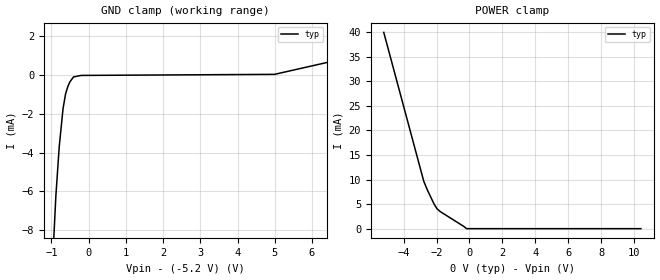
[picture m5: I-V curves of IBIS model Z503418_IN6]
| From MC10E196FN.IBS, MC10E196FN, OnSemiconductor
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| (C) COPYRIGHT 1993-2000
| MENTOR GRAPHICS CORPORATION
| ICX STANDARD LIBRARY, ICX PROJECT MODELING,
| ICX CUSTOM MODELING, ICX VENDOR MODEL
| ALL RIGHTS RESERVED.
| THE FOLLOWING ARE TRADEMARKS OR SERVICE MARKS OF
| MENTOR GRAPHICS CORPORATION:ICX (R), ICX STANDARD
| LIBRARY(R), ICX PROJECT MODELING(R), ICX CUSTOM
| MODELING(R), qualityIBIS(TM), MODELVIEWER(TM),
| AND MODELEDITOR(TM)
| ALL COPIES OF SOFTWARE, INCLUDING BUT NOT LIMITED TO
| ANY MODIFICATIONS, ENHANCEMENTS OR DERIVATIVE WORKS,
| MUST CONTAIN ALL MENTOR GRAPHICS CORPORATION'S
| NOTICES AND LEGENDS, INCLUDING THOSE EMBEDDED IN
| SOFTWARE AND THOSE AFFIXED TO SOFTWARE MEDIUM
| AND CONTAINER, AS RECEIVED FROM MENTOR GRAPHICS
| CORPORATION.
| Model Application Version 1.89 2/18/99.
[Model] Z503418_IN6
Model_type Input_ECL
Vinl = -1.480V
Vinh = -1.130V
C_comp 4.000pF NA NA
| variable typ   min   max
[Voltage Range] -5.200V NA NA
[GND Clamp Reference] -5.200V NA NA
[POWER Clamp Reference] 0.000V NA NA
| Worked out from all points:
|   GND clamp passes 1 mA (typ) near -0.62 V on its own axis
[GND Clamp]
-5.2V     -238.9mA   NA         NA
-1.069V   -13.57mA   NA         NA
-882mV    -6.239mA   NA         NA
-791mV    -3.686mA   NA         NA
-689mV    -1.73mA    NA         NA
-620mV    -963.5uA   NA         NA
-562mV    -601.5uA   NA         NA
-503mV    -345.1uA   NA         NA
-407mV    -97.06uA   NA         NA
-203.5mV  -19.02uA   NA         NA
4.992V    35.94uA    NA         NA
10.4V     2.384mA    NA         NA
[POWER Clamp]
-5.2V     39.93mA    NA         NA
-2.773V   9.64mA     NA         NA
-2.553V   7.859mA    NA         NA
-2.163V   5.114mA    NA         NA
-1.975V   4.059mA    NA         NA
-1.763V   3.451mA    NA         NA
-345.9mV  457.3uA    NA         NA
-172.9mV  0A         NA         NA
10.4V     0A         NA         NA
